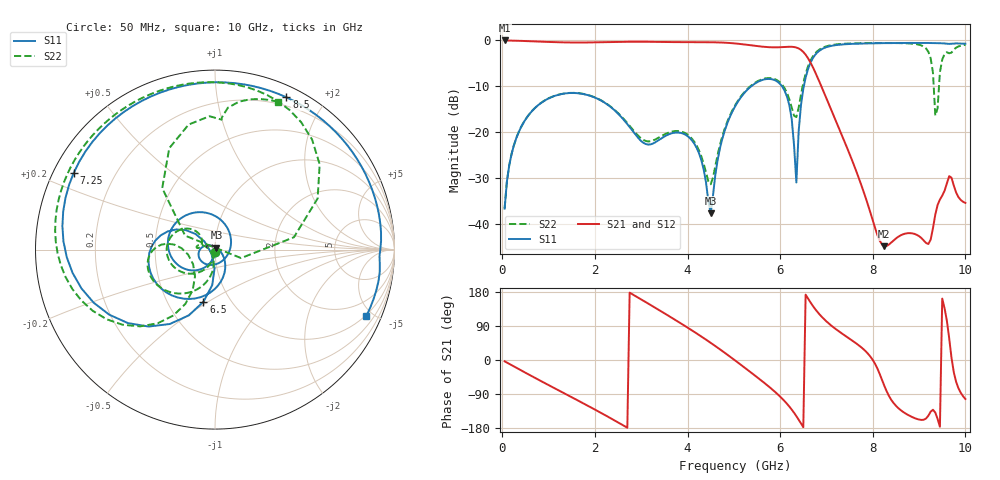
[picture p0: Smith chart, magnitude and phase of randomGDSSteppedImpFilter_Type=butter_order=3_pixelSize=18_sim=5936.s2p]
! freq	dB(S11)	phase(S11)	dB(S12)	phase(S12)
!  dB(S21)	phase(S21)	dB(S22)	phase(S22)
!S-par simulation data
#  GHz  S  DB  R 50
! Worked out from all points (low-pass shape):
!   200 points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, 50 MHz to 10 GHz, reference 50 ohm
!   highest |S21| = -0.01 dB at 50 MHz (marker M1); lowest = -44.7 dB at 8.25 GHz (marker M2)
!   |S21| within 3 dB of the highest: start of sweep to 6.542 GHz
!   lowest |S11| = -37.6 dB at 4.5 GHz (marker M3), VSWR 1.03, Z = 50.8 + j1.04 ohm
!   |S11| at or under -10 dB: start of sweep to 5.371 GHz; 6.041 GHz to 6.511 GHz (469.8 MHz wide, 7.49 % of centre)
!   |S22| runs from -36.5 to -0.6 dB; largest |S21 - S12| = 0
!   S11 on the Smith chart (normalised r, x): 50 MHz: 1.00, -0.03; 6.5 GHz: 0.75, -0.48; 7.25 GHz: 0.06, +0.25; 8.5 GHz: 0.11, +1.57; 10 GHz: 0.94, -4.58
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0.05  -36.55 -93.0  -0.01 -3.4  -0.01 -3.4  -36.55 -92.5
0.5  -17.19 -126.9  -0.13 -33.6  -0.13 -33.6  -17.18 -121.1
1.75  -11.65 141.8  -0.45 -114.4  -0.45 -114.4  -11.62 168.8
2.65  -17.57 55.6  -0.30 -175.2  -0.30 -175.2  -17.38 135.4
3.4  -21.52 -92.9  -0.33 130.7  -0.33 130.7  -20.99 173.3
4.15  -22.50 171.5  -0.38 73.9  -0.38 73.9  -22.09 161.0
4.5  -37.59 50.8  -0.40 45.3  -0.40 45.3  -31.26 -144.7
5.05  -13.92 -85.3  -0.68 -3.2  -0.68 -3.2  -13.71 -108.0
6.05  -10.11 165.1  -1.46 -102.7  -1.46 -102.7  -9.70 177.6
6.25  -17.13 141.2  -1.39 -130.9  -1.39 -130.9  -14.59 177.6
6.35  -30.88 -134.8  -1.54 -148.1  -1.54 -148.1  -16.67 -146.4
6.5  -10.54 -102.5  -2.51 -177.4  -2.51 -177.4  -9.25 -118.6
6.7  -3.95 -139.8  -5.69 143.9  -5.69 143.9  -3.57 -140.8
7.25  -0.96 151.5  -18.61 77.2  -18.61 77.2  -0.82 165.9
8.25  -0.59 80.1  -44.71 -68.3  -44.71 -68.3  -0.56 111.5
8.35  -0.58 74.0  -44.35 -94.9  -44.35 -94.9  -0.56 106.5
8.5  -0.56 64.9  -43.04 -120.7  -43.04 -120.7  -0.57 98.9
9.2  -0.56 23.6  -44.24 -147.0  -44.24 -147.0  -2.47 39.2
9.35  -0.58 14.8  -37.86 -138.8  -37.86 -138.8  -16.32 -18.0
9.45  -0.61 8.9  -34.57 -176.2  -34.57 -176.2  -6.91 130.6
9.55  -0.66 3.0  -32.66 136.8  -32.66 136.8  -2.95 101.9
10  -0.71 -23.7  -35.31 -102.9  -35.31 -102.9  -0.95 66.8
